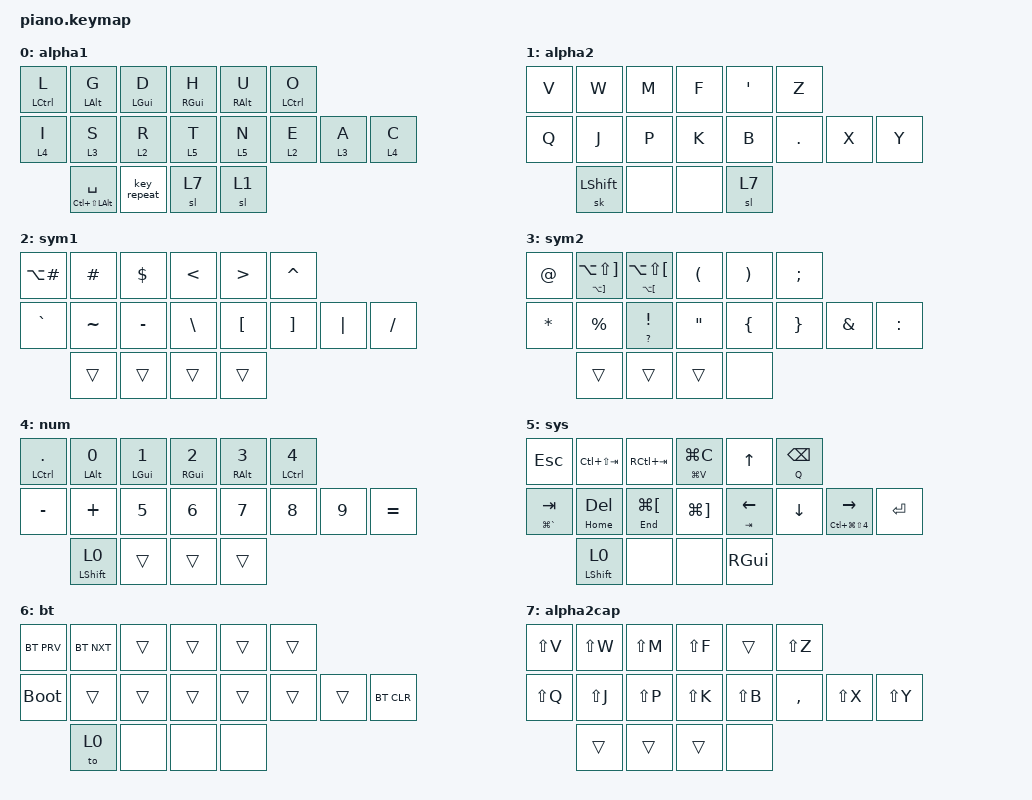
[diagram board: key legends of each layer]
/*
 * Copyright (c) 2020 The ZMK Contributors
 *
 * SPDX-License-Identifier: MIT
 */

#include <dt-bindings/zmk/mouse.h>
#include <behaviors.dtsi>
#include <dt-bindings/zmk/bt.h>
#include <dt-bindings/zmk/keys.h>
#include <dt-bindings/zmk/pointing.h>

&lt {
    tapping-term-ms = <150>;
    quick-tap-ms = <200>;
    flavor = "balanced";
    require-prior-idle-ms = <150>;
};

&mt {
    tapping-term-ms = <150>;
    quick-tap-ms = <200>;
    flavor = "balanced";
    require-prior-idle-ms = <150>;
};

&sk {
    release-after-ms = <2000>;
    quick-release;
};

/ {
    combos {
        compatible = "zmk,combos";

        combo_sys {
            timeout-ms = <30>;
            key-positions = <3 4 5>;
            bindings = <&to 5>;
        };

        combo_caps {
            timeout-ms = <30>;
            key-positions = <10 11 12>;
            bindings = <&caps_word>;
        };

        combo_bt {
            timeout-ms = <10>;
            key-positions = <11 12>;
            bindings = <&to 6>;
            layers = <2>;
        };

        lalt {
            timeout-ms = <20>;
            key-positions = <8 9>;
            bindings = <&kp LALT>;
            layers = <5>;
        };

        lclk {
            timeout-ms = <20>;
            key-positions = <10 11>;
            bindings = <&mkp LCLK>;
            layers = <5>;
        };

        rclk {
            timeout-ms = <20>;
            key-positions = <3 4>;
            bindings = <&mkp RCLK>;
            layers = <5>;
        };
    };

    behaviors {
        hml: homerow_mod_left {
            compatible = "zmk,behavior-hold-tap";
            display-name = "Homerow Mod-Tap (Left)";
            #binding-cells = <2>;
            tapping-term-ms = <280>;
            quick-tap-ms = <175>;
            flavor = "balanced";
            bindings = <&kp>, <&kp>;

            hold-trigger-key-positions = <14 15 16 17 10 3 4 11 5 12 13>;
            require-prior-idle-ms = <150>;
        };

        hmr: homerow_mod_right {
            compatible = "zmk,behavior-hold-tap";
            display-name = "Homerow Mod-Tap (Right)";
            #binding-cells = <2>;
            tapping-term-ms = <280>;
            quick-tap-ms = <175>;
            flavor = "balanced";
            bindings = <&kp>, <&kp>;

            hold-trigger-key-positions = <6 0 7 1 8 2 9 14 15 16 17>;
            require-prior-idle-ms = <150>;
        };

        hl: hold_layer {
            compatible = "zmk,behavior-hold-tap";
            display-name = "Hold-Layer";
            #binding-cells = <2>;
            tapping-term-ms = <280>;
            flavor = "tap-preferred";
            bindings = <&kp>, <&to>;

            retro-tap;
            require-prior-idle-ms = <150>;
            quick-tap-ms = <175>;
        };

        hll: homerow_layer_left {
            compatible = "zmk,behavior-hold-tap";
            display-name = "Homerow Layer-Tap (Left)";
            #binding-cells = <2>;
            tapping-term-ms = <280>;
            quick-tap-ms = <175>;
            flavor = "balanced";
            bindings = <&mo>, <&kp>;

            require-prior-idle-ms = <150>;
            hold-trigger-key-positions = <14 15 16 17 10 3 4 11 5 12 13>;
        };

        hlr: homerow_layer_right {
            compatible = "zmk,behavior-hold-tap";
            display-name = "Homerow Layer-Tap (Right)";
            #binding-cells = <2>;
            tapping-term-ms = <280>;
            quick-tap-ms = <175>;
            flavor = "balanced";
            bindings = <&mo>, <&kp>;

            require-prior-idle-ms = <150>;
            hold-trigger-key-positions = <17 16 15 14 9 2 1 8 0 7 6>;
        };
    };

    keymap {
        compatible = "zmk,keymap";

        alpha1 {
            bindings = <
&hml LCTRL L  &hml LALT G             &hml LGUI D  &hmr RGUI H  &hmr RALT U  &hmr LCTRL O
&hll 4 I      &hll 3 S                &hll 2 R     &hll 5 T     &hlr 5 N     &hlr 2 E      &hlr 3 A  &hlr 4 C
              &mt LC(LS(LALT)) SPACE  &key_repeat  &sl 7        &sl 1
            >;
        };

        alpha2 {
            bindings = <
&kp V  &kp W       &kp M  &kp F  &kp SQT  &kp Z
&kp Q  &kp J       &kp P  &kp K  &kp B    &kp DOT  &kp X  &kp Y
       &sk LSHIFT  &none  &none  &sl 7
            >;
        };

        sym1 {
            bindings = <
&kp LA(HASH)  &kp HASH   &kp DLLR   &kp LT    &kp GT    &kp CARET
&kp GRAVE     &kp TILDE  &kp MINUS  &kp BSLH  &kp LBKT  &kp RBKT   &kp PIPE  &kp SLASH
              &trans     &trans     &trans    &trans
            >;
        };

        sym2 {
            bindings = <
&kp AT    &mt LA(RBKT) LA(LS(RBKT))  &mt LA(LBKT) LA(LS(LBKT))  &kp LPAR  &kp RPAR  &kp SEMI
&kp STAR  &kp PRCNT                  &mt QMARK EXCL             &kp DQT   &kp LBRC  &kp RBRC  &kp AMPS  &kp COLON
          &trans                     &trans                     &trans    &none
            >;
        };

        num {
            bindings = <
&hml LCTRL DOT  &hml LALT N0  &hml LGUI N1  &hmr RGUI N2  &hmr RALT N3  &hmr LCTRL N4
&kp MINUS       &kp PLUS      &kp N5        &kp N6        &kp N7        &kp N8         &kp N9  &kp EQUAL
                &hl LSHIFT 0  &trans        &trans        &trans
            >;
        };

        sys {
            bindings = <
&kp ESC            &kp LC(LS(TAB))  &kp RC(TAB)       &mt LG(V) LG(C)  &kp UP        &mt Q BSPC
&mt LG(GRAVE) TAB  &mt HOME DEL     &mt END LG(LBKT)  &kp LG(RBKT)     &mt TAB LEFT  &kp DOWN    &mt LC(LG(LS(N4))) RIGHT  &kp RET
                   &hl LSHIFT 0     &none             &none            &kp RGUI
            >;
        };

        bt {
            bindings = <
&bt BT_PRV   &bt BT_NXT  &trans  &trans  &trans  &trans
&bootloader  &trans      &trans  &trans  &trans  &trans  &trans  &bt BT_CLR
             &to 0       &none   &none   &none
            >;
        };

        alpha2cap {
            bindings = <
&kp LS(V)  &kp LS(W)  &kp LS(M)  &kp LS(F)  &trans     &kp LS(Z)
&kp LS(Q)  &kp LS(J)  &kp LS(P)  &kp LS(K)  &kp LS(B)  &kp COMMA  &kp LS(X)  &kp LS(Y)
           &trans     &trans     &trans     &none
            >;
        };
    };
};
